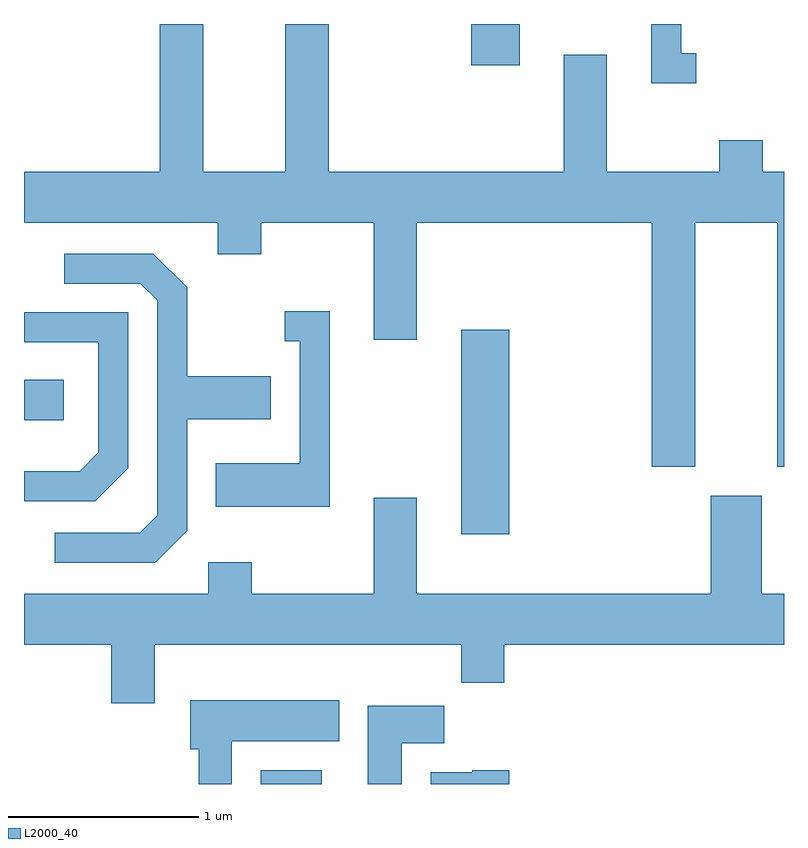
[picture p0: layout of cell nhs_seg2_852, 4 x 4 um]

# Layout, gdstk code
import gdstk
lib = gdstk.Library(unit=1e-6, precision=1e-09)
def R(c, l, rs):  # rectangles x0, y0, x1, y1
    for r in rs: c.add(gdstk.rectangle(r[:2], r[2:], *l))
def P(c, l, *ps):  # polygons
    for p in ps: c.add(gdstk.Polygon(p, *l))
L2000_40 = (2000, 40)

nhs_seg2_852 = lib.new_cell('nhs_seg2_852')
R(nhs_seg2_852, L2000_40, [(210.856,1049.802,211.179,1049.874), (211.911,1051.116,212.164,1052.194), (209.611,1051.716,209.819,1051.929), (211.966,1053.586,212.219,1053.802)])
P(nhs_seg2_852, L2000_40, [(213.148,1053.649),(213.069,1053.649),(213.069,1053.802),(212.911,1053.802),(212.911,1053.491),(213.148,1053.491)],
  [(213.144,1052.756),(213.576,1052.756),(213.576,1051.471),(213.611,1051.471),(213.611,1053.024),(213.499,1053.024),(213.499,1053.189),(213.271,1053.189),(213.271,1053.024),(212.679,1053.024),(212.679,1053.639),(212.451,1053.639),(212.451,1053.024),(211.214,1053.024),(211.214,1053.802),(210.986,1053.802),(210.986,1053.024),(210.554,1053.024),(210.554,1053.802),(210.326,1053.802),(210.326,1053.024),(209.611,1053.024),(209.611,1052.756),(210.631,1052.756),(210.631,1052.591),(210.859,1052.591),(210.859,1052.756),(211.451,1052.756),(211.451,1052.141),(211.679,1052.141),(211.679,1052.756),(212.916,1052.756),(212.916,1051.471),(213.144,1051.471)],
  [(210.469,1051.134),(210.469,1051.721),(210.909,1051.721),(210.909,1051.949),(210.469,1051.949),(210.469,1052.417),(210.292,1052.594),(209.823,1052.594),(209.823,1052.436),(210.224,1052.436),(210.311,1052.349),(210.311,1051.217),(210.219,1051.124),(209.773,1051.124),(209.773,1050.966),(210.302,1050.966)],
  [(211.219,1052.289),(210.983,1052.289),(210.983,1052.131),(211.061,1052.131),(211.061,1051.489),(210.621,1051.489),(210.621,1051.261),(211.219,1051.261)],
  [(210.159,1051.464),(210.159,1052.284),(209.611,1052.284),(209.611,1052.126),(210.001,1052.126),(210.001,1051.547),(209.904,1051.449),(209.611,1051.449),(209.611,1051.291),(209.987,1051.291)],
  [(210.299,1050.536),(211.911,1050.536),(211.911,1050.336),(212.139,1050.336),(212.139,1050.536),(213.611,1050.536),(213.611,1050.804),(213.494,1050.804),(213.494,1051.319),(213.226,1051.319),(213.226,1050.804),(211.679,1050.804),(211.679,1051.309),(211.451,1051.309),(211.451,1050.804),(210.809,1050.804),(210.809,1050.969),(210.581,1050.969),(210.581,1050.804),(209.611,1050.804),(209.611,1050.536),(210.071,1050.536),(210.071,1050.226),(210.299,1050.226)],
  [(210.704,1050.026),(211.269,1050.026),(211.269,1050.244),(210.486,1050.244),(210.486,1049.986),(210.531,1049.986),(210.531,1049.802),(210.704,1049.802)],
  [(211.599,1050.016),(211.824,1050.016),(211.824,1050.214),(211.421,1050.214),(211.421,1049.802),(211.599,1049.802)],
  [(212.164,1049.874),(211.97,1049.874),(211.97,1049.864),(211.751,1049.864),(211.751,1049.802),(212.164,1049.802)])

lib.write_gds('nhs_seg2_852.gds')
